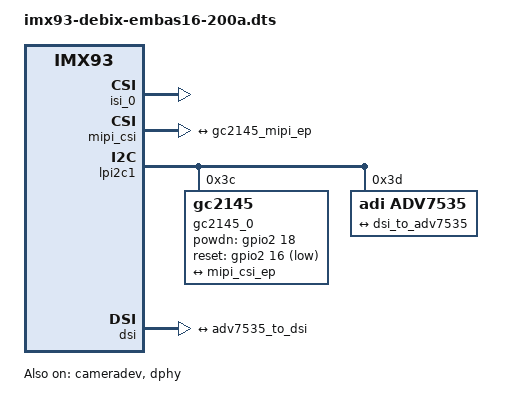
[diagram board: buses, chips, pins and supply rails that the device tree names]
// SPDX-License-Identifier: (GPL-2.0+ OR MIT)
/*
 * Copyright 2022 NXP
 */

#include "imx93-11x11-evk.dts"

/ {

};

&cameradev {
	status = "okay";
};

&isi_0 {
	status = "okay";

	cap_device {
		status = "okay";
	};
};

&mipi_csi {
	#address-cells = <1>;
	#size-cells = <0>;
	status = "okay";

	port@0 {
		reg = <0>;
		mipi_csi_ep: endpoint {
			remote-endpoint = <&gc2145_mipi_ep>;
			data-lanes = <1>;
			cfg-clk-range = <28>;
			hs-clk-range = <0x2B>;
			bus-type = <1>;
			
		};
	};
};

&lpi2c1 {
	gc2145_0: gc2145_mipi@3c {
                compatible = "gc2145";
                reg = <0x3c>;
                pinctrl-names = "default";
                pinctrl-0 = <&pinctrl_csi0_pwn>, <&pinctrl_csi0_rst>/*, <&pinctrl_csi0_mclk>*/;
#if 0 //use exit clk
		clocks = <&clk IMX93_CLK_CCM_CKO3>;
		clock-names = "xclk";
		assigned-clocks = <&clk IMX93_CLK_CCM_CKO3>;
                assigned-clock-parents = <&clk IMX93_CLK_24M>;
                assigned-clock-rates = <24000000>;
#endif
		csi_id = <0>;
                powdn-gpios = <&gpio2 18 GPIO_ACTIVE_HIGH>;
		reset-gpios = <&gpio2 16 GPIO_ACTIVE_LOW>;
		//mclk = <24000000>;
		//mclk_source = <0>;
		mipi_csi;
		status = "okay";
		port {
                        gc2145_mipi_ep: endpoint {
                                remote-endpoint = <&mipi_csi_ep>;
                                data-lanes = <1>;
                                clock-lanes = <0>;
                        };
                };
        };
	adv7535: hdmi@3d {
		compatible = "adi,adv7535";
		reg = <0x3d>;
		adi,addr-cec = <0x3b>;
		adi,dsi-lanes = <4>;
		status = "okay";

		port {
			adv7535_to_dsi: endpoint {
				remote-endpoint = <&dsi_to_adv7535>;
			};
		};
	};

};

&dphy {
	status = "okay";
};

&dsi {
	status = "okay";
	ports {
		port@1 {
			reg = <1>;

			dsi_to_adv7535: endpoint {
				remote-endpoint = <&adv7535_to_dsi>;
			};
		};
	};
};

&iomuxc {
        pinctrl_csi0_pwn: csi0_pwn_grp {
                fsl,pins = <
                         MX93_PAD_GPIO_IO18__GPIO2_IO18		0x31e
                >;
        };
	pinctrl_csi0_rst: csi0_rst_grp {
                fsl,pins = <
                         MX93_PAD_GPIO_IO16__GPIO2_IO16		0x31e
                >;
        };
	pinctrl_csi0_mclk: csi0_mclk_grp {
                fsl,pins = <
			 //MX93_PAD_CCM_CLKO3__CCMSRCGPCMIX_CLKO3  0x31e
			 MX93_PAD_CCM_CLKO3__CCMSRCGPCMIX_CLKO3  0x1fe
                >;
        };
};
